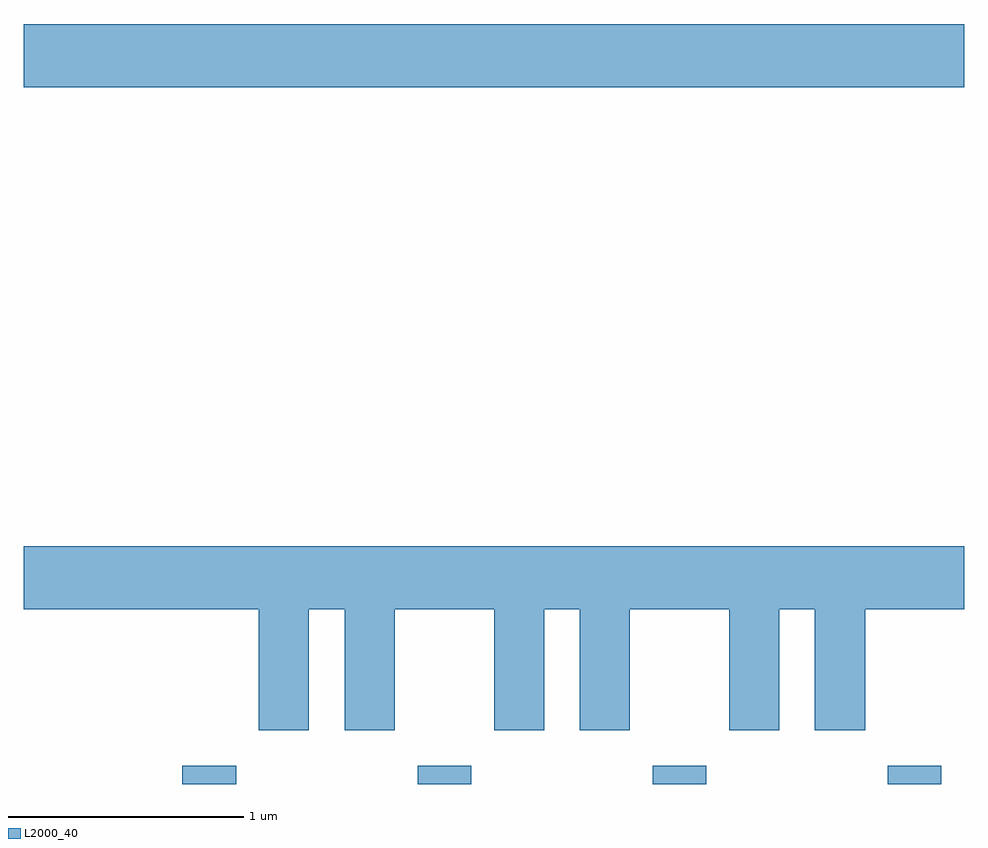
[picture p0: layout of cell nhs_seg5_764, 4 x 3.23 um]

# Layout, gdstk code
import gdstk
lib = gdstk.Library(unit=1e-6, precision=1e-09)
def R(c, l, rs):  # rectangles x0, y0, x1, y1
    for r in rs: c.add(gdstk.rectangle(r[:2], r[2:], *l))
def A(c, l, x, y, w, h, nx, ny, dx, dy):  # array of equal rectangles
    R(c, l, [(x+i*dx, y+j*dy, x+i*dx+w, y+j*dy+h) for i in range(nx) for j in range(ny)])
def P(c, l, *ps):  # polygons
    for p in ps: c.add(gdstk.Polygon(p, *l))
L2000_40 = (2000, 40)

nhs_seg5_764 = lib.new_cell('nhs_seg5_764')
A(nhs_seg5_764, L2000_40, 208.286, 1436.072, 0.228, 0.077, 4, 1, 1, 0)
R(nhs_seg5_764, L2000_40, [(207.611,1439.036,211.611,1439.304)])
P(nhs_seg5_764, L2000_40, [(208.824,1436.816),(208.976,1436.816),(208.976,1436.301),(209.189,1436.301),(209.189,1436.816),(209.611,1436.816),(209.611,1436.301),(209.824,1436.301),(209.824,1436.816),(209.976,1436.816),(209.976,1436.301),(210.189,1436.301),(210.189,1436.816),(210.611,1436.816),(210.611,1436.301),(210.824,1436.301),(210.824,1436.816),(210.976,1436.816),(210.976,1436.301),(211.189,1436.301),(211.189,1436.816),(211.611,1436.816),(211.611,1437.084),(207.611,1437.084),(207.611,1436.816),(208.611,1436.816),(208.611,1436.301),(208.824,1436.301)])

lib.write_gds('nhs_seg5_764.gds')
